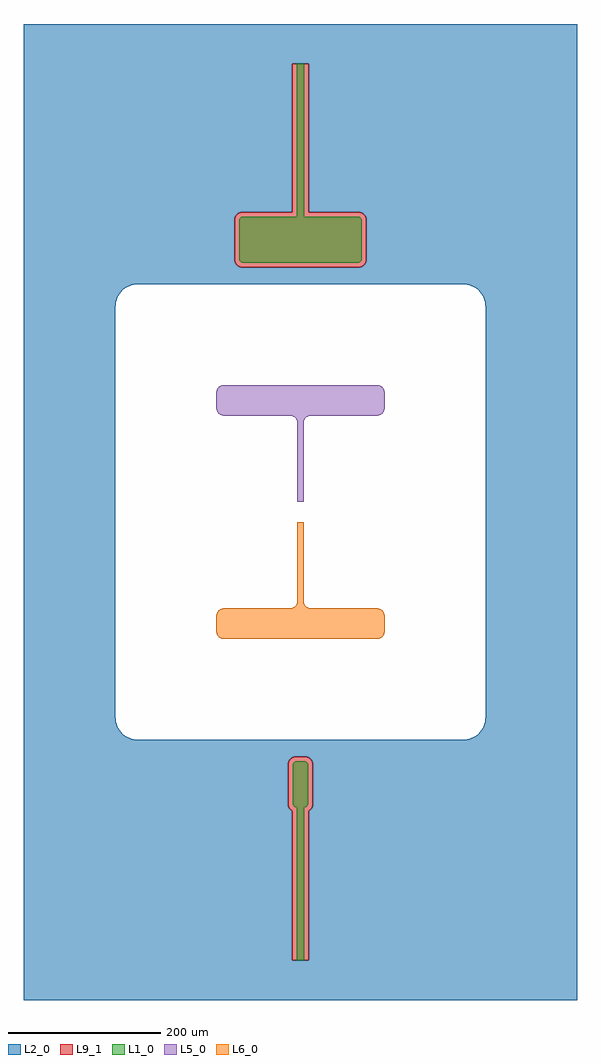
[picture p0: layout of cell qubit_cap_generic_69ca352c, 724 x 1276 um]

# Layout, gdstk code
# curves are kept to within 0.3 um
from math import pi, radians
import gdstk
lib = gdstk.Library(unit=1e-6, precision=1e-09)
def R(c, l, rs):  # rectangles x0, y0, x1, y1
    for r in rs: c.add(gdstk.rectangle(r[:2], r[2:], *l))
def P(c, l, *ps):  # polygons
    for p in ps: c.add(gdstk.Polygon(p, *l))
L1_0 = (1, 0)
L2_0 = (2, 0)
L5_0 = (5, 0)
L6_0 = (6, 0)
L9_1 = (9, 1)

round_rectangle_61e0a399 = lib.new_cell('round_rectangle_61e0a399')
P(round_rectangle_61e0a399, L5_0, [(-100,126),(101.045,126.055),(103.09,126.489),(105.878,127.91),(108.09,130.122),(109.511,132.91),(110,136),(109.945,157.045),(108.66,161),(106.691,163.431),(103.09,165.511),(100,166),(-101.045,165.945),(-103.09,165.511),(-105.878,164.09),(-108.09,161.878),(-109.511,159.09),(-110,156),(-110,136),(-109.511,132.91),(-107.431,129.309),(-104.067,126.865)])

round_rectangle_39f1ce38 = lib.new_cell('round_rectangle_39f1ce38')
R(round_rectangle_39f1ce38, L5_0, [(-4,-56.25,4,56.25)])

fillet_cutout_90deg_1908 = lib.new_cell('fillet_cutout_90deg_19087955')
P(fillet_cutout_90deg_1908, L5_0, [(0,0),(7.071,7.071),(5.556,5.827),(3.827,4.903),(1.951,4.334),(0,4.142),(-1.951,4.334),(-3.827,4.903),(-5.556,5.827),(-7.071,7.071)])

fillet_cutout_90deg_7294 = lib.new_cell('fillet_cutout_90deg_72947cdf')
P(fillet_cutout_90deg_7294, L5_0, [(0,0),(-7.071,-7.071),(-5.556,-5.827),(-3.827,-4.903),(-1.951,-4.334),(0,-4.142),(1.951,-4.334),(3.827,-4.903),(5.556,-5.827),(7.071,-7.071)])

round_rectangle_d35b9f68 = lib.new_cell('round_rectangle_d35b9f68')
P(round_rectangle_d35b9f68, L6_0, [(-100,-166),(101.045,-165.945),(103.09,-165.511),(105.878,-164.09),(108.09,-161.878),(109.511,-159.09),(110,-156),(109.945,-134.955),(108.66,-131),(106.691,-128.569),(103.09,-126.489),(100,-126),(-101.045,-126.055),(-103.09,-126.489),(-105.878,-127.91),(-108.09,-130.122),(-109.511,-132.91),(-110,-136),(-110,-156),(-109.511,-159.09),(-107.431,-162.691),(-104.067,-165.135)])

round_rectangle_78c8454c = lib.new_cell('round_rectangle_78c8454c')
R(round_rectangle_78c8454c, L6_0, [(-4,-56.25,4,56.25)])

fillet_cutout_90deg_0e94 = lib.new_cell('fillet_cutout_90deg_0e94dd91')
P(fillet_cutout_90deg_0e94, L6_0, [(0,0),(7.071,7.071),(5.556,5.827),(3.827,4.903),(1.951,4.334),(0,4.142),(-1.951,4.334),(-3.827,4.903),(-5.556,5.827),(-7.071,7.071)])

fillet_cutout_90deg_25a9 = lib.new_cell('fillet_cutout_90deg_25a9f91b')
P(fillet_cutout_90deg_25a9, L6_0, [(0,0),(-7.071,-7.071),(-5.556,-5.827),(-3.827,-4.903),(-1.951,-4.334),(0,-4.142),(1.951,-4.334),(3.827,-4.903),(5.556,-5.827),(7.071,-7.071)])

round_rectangle_80ea1818 = lib.new_cell('round_rectangle_80ea1818')
P(round_rectangle_80ea1818, L1_0, [(-75,-30),(76.545,-29.755),(78.716,-28.346),(79.973,-25.523),(79.755,26.545),(77.939,29.045),(75,30),(-76.545,29.755),(-78.716,28.346),(-79.973,25.523),(-80,-25),(-79.568,-27.034),(-78.716,-28.346),(-77.034,-29.568)])

straight_cpw_length_um20 = lib.new_cell('straight_cpw_length_um200p0')
R(straight_cpw_length_um20, L1_0, [(0,-5,200,5)])
R(straight_cpw_length_um20, L9_1, [(0,-11,200,11)])

round_rectangle_f092fe80 = lib.new_cell('round_rectangle_f092fe80')
P(round_rectangle_f092fe80, L9_1, [(-76,320),(76,320),(80.067,320.865),(81.878,321.91),(84.09,324.122),(85.511,326.91),(85.945,328.955),(86,382),(85.135,386.067),(84.09,387.878),(81.878,390.09),(79.09,391.511),(76,392),(-76,392),(-80.067,391.135),(-81.878,390.09),(-84.09,387.878),(-85.511,385.09),(-85.945,383.045),(-85.945,328.955),(-84.66,325),(-82.691,322.569),(-79.09,320.489)])

round_rectangle_radius5p = lib.new_cell('round_rectangle_radius5p0_size20p0__60p0')
P(round_rectangle_radius5p, L1_0, [(-5,-30),(6.04,-29.891),(8.346,-28.716),(9.891,-26.04),(9.973,25.523),(8.716,28.346),(6.04,29.891),(-6.04,29.891),(-8.346,28.716),(-9.891,26.04),(-9.973,-25.523),(-9.568,-27.034),(-8.346,-28.716),(-7.034,-29.568)])

round_rectangle_45cb1b6c = lib.new_cell('round_rectangle_45cb1b6c')
P(round_rectangle_45cb1b6c, L9_1, [(-6,-392),(6,-392),(9.09,-391.511),(11.878,-390.09),(13.431,-388.691),(14.66,-387),(15.781,-384.079),(15.945,-328.955),(15.135,-325.933),(13.431,-323.309),(11,-321.34),(8.079,-320.219),(-6,-320),(-9.09,-320.489),(-11.878,-321.91),(-13.431,-323.309),(-14.66,-325),(-15.781,-327.921),(-15.945,-383.045),(-14.66,-387),(-12.691,-389.431),(-9.09,-391.511)])

unnamed_01d371d9 = lib.new_cell('Unnamed_01d371d9')
P(unnamed_01d371d9, L2_0, [(362,638),(-362,638),(-362,330),(-86,330),(-85.945,383.045),(-84.66,387),(-82.691,389.431),(-79.09,391.511),(-76,392),(-11,392),(-11,586),(11,586),(11,392),(77.045,391.945),(81,390.66),(83.431,388.691),(85.511,385.09),(86,382),(85.945,328.955),(85.135,325.933),(83.431,323.309),(81,321.34),(77.045,320.055),(-77.045,320.055),(-81,321.34),(-83.431,323.309),(-85.511,326.91),(-86,330),(-362,330),(-362,-268),(-242,-268),(-242,268),(-241.344,274.237),(-239.406,280.202),(-236.271,285.634),(-232.074,290.294),(-227,293.981),(-221.271,296.532),(-215.136,297.836),(-212,298),(212,298),(215.136,297.836),(221.271,296.532),(227,293.981),(232.074,290.294),(236.271,285.634),(239.406,280.202),(241.344,274.237),(242,268),(242,-268),(241.836,-271.136),(240.532,-277.271),(237.981,-283),(236.271,-285.634),(232.074,-290.294),(227,-293.981),(221.271,-296.532),(215.136,-297.836),(212,-298),(-212,-298),(-215.136,-297.836),(-221.271,-296.532),(-227,-293.981),(-232.074,-290.294),(-236.271,-285.634),(-239.406,-280.202),(-241.344,-274.237),(-242,-268),(-362,-268),(-362,-382),(-16,-382),(-16,-330),(-15.511,-326.91),(-14.66,-325),(-11.878,-321.91),(-8.079,-320.219),(8.079,-320.219),(11.878,-321.91),(14.09,-324.122),(15.511,-326.91),(16,-330),(15.945,-383.045),(15.511,-385.09),(14.09,-387.878),(11,-390.66),(11,-586),(-11,-586),(-11,-390.66),(-12.691,-389.431),(-14.66,-387),(-15.511,-385.09),(-16,-382),(-362,-382),(-362,-638),(362,-638)])

qubit_cap_generic_69ca35 = lib.new_cell('qubit_cap_generic_69ca352c')
qubit_cap_generic_69ca35.add(gdstk.Reference(round_rectangle_61e0a399, (0,0)))
qubit_cap_generic_69ca35.add(gdstk.Reference(round_rectangle_39f1ce38, (0,69.75)))
qubit_cap_generic_69ca35.add(gdstk.Reference(fillet_cutout_90deg_1908, (4,126), rotation=radians(225)))
qubit_cap_generic_69ca35.add(gdstk.Reference(fillet_cutout_90deg_7294, (-4,126), rotation=radians(315)))
qubit_cap_generic_69ca35.add(gdstk.Reference(round_rectangle_d35b9f68, (0,0)))
qubit_cap_generic_69ca35.add(gdstk.Reference(round_rectangle_78c8454c, (0,-69.75), rotation=pi))
qubit_cap_generic_69ca35.add(gdstk.Reference(fillet_cutout_90deg_0e94, (-4,-126), rotation=radians(45)))
qubit_cap_generic_69ca35.add(gdstk.Reference(fillet_cutout_90deg_25a9, (4,-126), rotation=radians(135)))
qubit_cap_generic_69ca35.add(gdstk.Reference(round_rectangle_80ea1818, (0,356)))
qubit_cap_generic_69ca35.add(gdstk.Reference(straight_cpw_length_um20, (0,386), rotation=pi/2))
qubit_cap_generic_69ca35.add(gdstk.Reference(round_rectangle_f092fe80, (0,0)))
qubit_cap_generic_69ca35.add(gdstk.Reference(round_rectangle_radius5p, (0,-356)))
qubit_cap_generic_69ca35.add(gdstk.Reference(straight_cpw_length_um20, (0,-386), rotation=3*pi/2))
qubit_cap_generic_69ca35.add(gdstk.Reference(round_rectangle_45cb1b6c, (0,0)))
qubit_cap_generic_69ca35.add(gdstk.Reference(unnamed_01d371d9, (0,0)))

lib.write_gds('qubit_cap_generic_69ca352c.gds')
